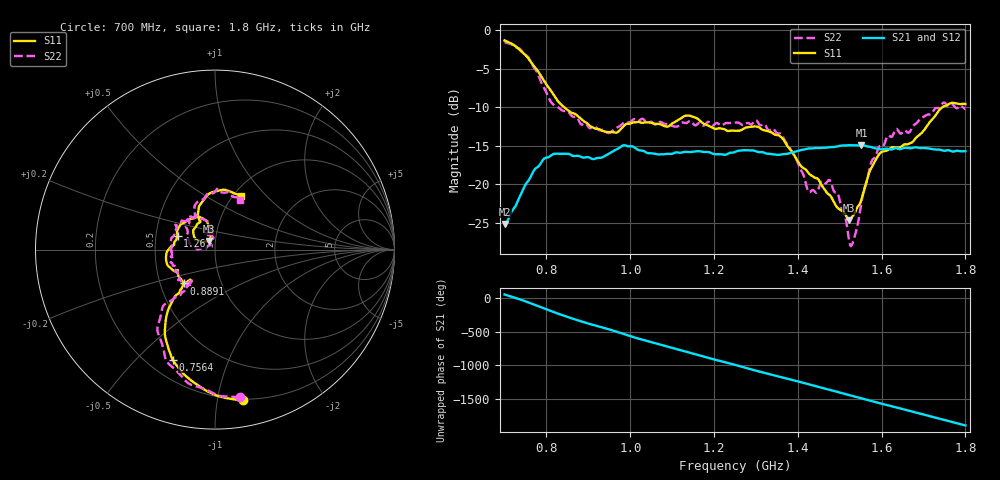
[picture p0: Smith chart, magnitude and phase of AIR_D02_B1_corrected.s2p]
! Created with skrf 1.9.0 (http://scikit-rf.org).
# Hz S RI R 50.0
!freq ReS11 ImS11 ReS21 ImS21 ReS12 ImS12 ReS22 ImS22
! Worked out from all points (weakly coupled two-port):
!   1601 points, 700 MHz to 1.8 GHz, reference 50 ohm
!   highest |S21| = -14.90 dB at 1.552 GHz (marker M1); lowest = -25.1 dB at 700 MHz (marker M2)
!   lowest |S11| = -24.6 dB at 1.522 GHz (marker M3), VSWR 1.12, Z = 46.5 + j4.43 ohm
!   |S11| at or under -10 dB: 842.2 MHz to 1.745 GHz (903 MHz wide, 69.8 % of centre)
!   |S22| runs from -28.0 to -1.6 dB; largest |S21 - S12| = 0.0032
!   S11 on the Smith chart (normalised r, x): 700 MHz: 0.19, -1.18; 756.4 MHz: 0.30, -0.64; 889.1 MHz: 0.66, -0.27; 1.26 GHz: 0.65, +0.11; 1.8 GHz: 1.09, +0.73
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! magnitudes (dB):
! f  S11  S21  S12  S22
! 700 MHz  -1.4  -25.1  -24.9  -1.6
! 756.4 MHz  -3.7  -19.5  -19.4  -3.5
! 812.8 MHz  -8.0  -16.2  -16.1  -9.5
! 883.6 MHz  -11.5  -16.5  -16.3  -12.3
! 889.1 MHz  -11.8  -16.5  -16.4  -12.1
! 985.3 MHz  -12.4  -14.9  -15.0  -12.0
! 1.067 GHz  -12.2  -16.1  -16.0  -12.0
! 1.139 GHz  -11.1  -15.8  -15.8  -11.9
! 1.25 GHz  -13.1  -15.8  -15.7  -12.0
! 1.26 GHz  -13.0  -15.6  -15.6  -12.1
! 1.36 GHz  -13.9  -16.1  -16.1  -13.5
! 1.434 GHz  -18.9  -15.3  -15.3  -20.8
! 1.477 GHz  -21.4  -15.2  -15.2  -19.5
! 1.498 GHz  -23.1  -15.0  -15.0  -21.5
! 1.522 GHz  -24.6  -14.9  -14.9  -27.0
! 1.532 GHz  -24.1  -14.9  -14.9  -27.4
! 1.552 GHz  -22.0  -14.9  -14.9  -22.4
! 1.577 GHz  -17.8  -15.2  -15.2  -17.0
! 1.617 GHz  -15.5  -15.4  -15.4  -13.7
! 1.673 GHz  -14.6  -15.3  -15.3  -12.6
! 1.748 GHz  -9.9  -15.6  -15.5  -9.4
! 1.8 GHz  -9.6  -15.7  -15.7  -10.2
